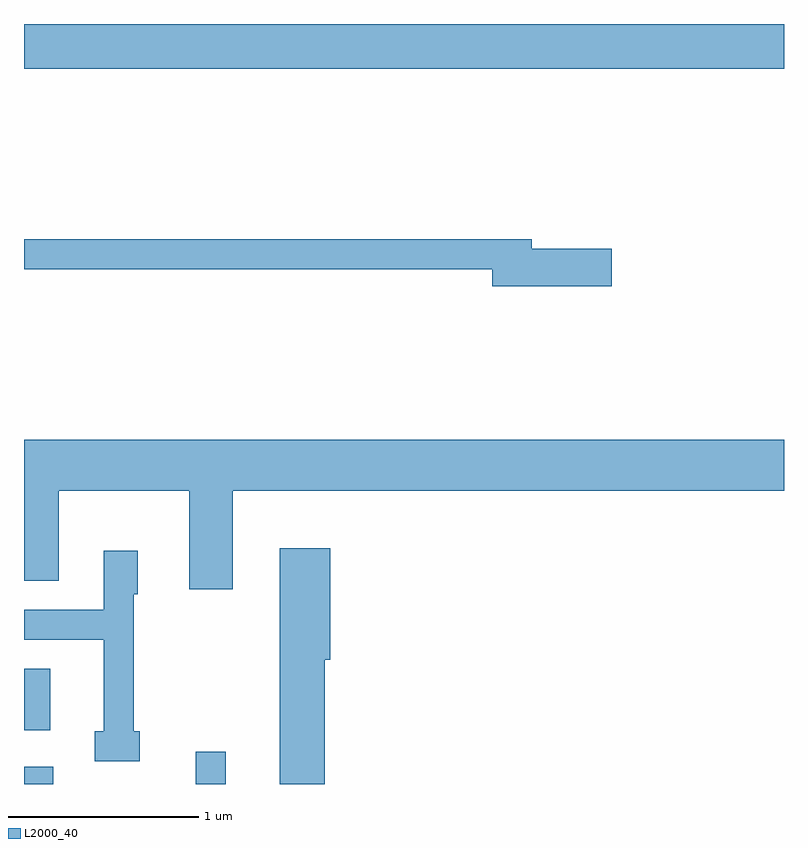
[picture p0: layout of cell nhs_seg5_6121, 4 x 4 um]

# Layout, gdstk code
import gdstk
lib = gdstk.Library(unit=1e-6, precision=1e-09)
def R(c, l, rs):  # rectangles x0, y0, x1, y1
    for r in rs: c.add(gdstk.rectangle(r[:2], r[2:], *l))
def P(c, l, *ps):  # polygons
    for p in ps: c.add(gdstk.Polygon(p, *l))
L2000_40 = (2000, 40)

nhs_seg5_6121 = lib.new_cell('nhs_seg5_6121')
R(nhs_seg5_6121, L2000_40, [(365.611,1524.072,365.764,1524.164), (366.516,1524.072,366.674,1524.243), (365.611,1524.356,365.749,1524.679), (365.611,1527.836,369.611,1528.072)])
P(nhs_seg5_6121, L2000_40, [(368.704,1526.889),(368.284,1526.889),(368.284,1526.939),(365.611,1526.939),(365.611,1526.781),(368.076,1526.781),(368.076,1526.691),(368.704,1526.691)],
  [(366.709,1525.616),(369.611,1525.616),(369.611,1525.884),(365.611,1525.884),(365.611,1525.141),(365.794,1525.141),(365.794,1525.616),(366.481,1525.616),(366.481,1525.096),(366.709,1525.096)],
  [(367.194,1524.726),(367.224,1524.726),(367.224,1525.314),(366.956,1525.314),(366.956,1524.072),(367.194,1524.072)],
  [(366.219,1524.349),(366.189,1524.349),(366.189,1525.071),(366.209,1525.071),(366.209,1525.299),(366.031,1525.299),(366.031,1524.989),(365.611,1524.989),(365.611,1524.831),(366.031,1524.831),(366.031,1524.349),(365.983,1524.349),(365.983,1524.191),(366.219,1524.191)])

lib.write_gds('nhs_seg5_6121.gds')
